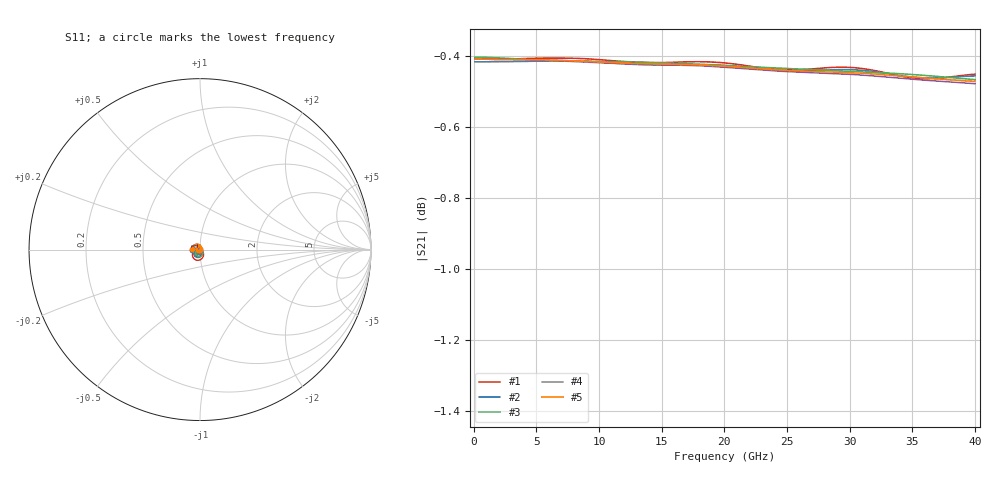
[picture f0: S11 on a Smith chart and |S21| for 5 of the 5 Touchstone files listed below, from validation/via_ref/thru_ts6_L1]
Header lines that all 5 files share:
! thru_ts6_L1: 2×thru, L1, 8 mm
! stackup: ThunderScope Rev5.3 6-layer (FR408HR / FR-4, from the board file)
! ports: 1, 2
# Hz S RI R 50
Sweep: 100 MHz to 40 GHz
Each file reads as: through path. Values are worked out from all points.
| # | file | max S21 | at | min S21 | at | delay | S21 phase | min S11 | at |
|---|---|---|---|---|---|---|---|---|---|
| 1 | cst.s2p | -0.41 dB | 6.4 GHz | -0.5 dB | 36.1 GHz | 43.6 ps | 46 deg at 20.1 GHz | -52.0 dB | 29.9 GHz |
| 2 | cst_fine.s2p | -0.41 dB | 6.8 GHz | -0.5 dB | 36.5 GHz | 43.8 ps | 45 deg at 20.1 GHz | -51.5 dB | 30.2 GHz |
| 3 | kisi.s2p | -0.40 dB | 100 MHz | -0.5 dB | 40 GHz | 43.8 ps | 45 deg at 20.1 GHz | -46.6 dB | 29.2 GHz |
| 4 | openems.s2p | -0.41 dB | 100 MHz | -0.5 dB | 40 GHz | 43.9 ps | 44 deg at 20.1 GHz | -55.0 dB | 11.2 GHz |
| 5 | openems_base.s2p | -0.41 dB | 100 MHz | -0.5 dB | 40 GHz | 43.8 ps | 45 deg at 20.1 GHz | -55.3 dB | 11.2 GHz |
